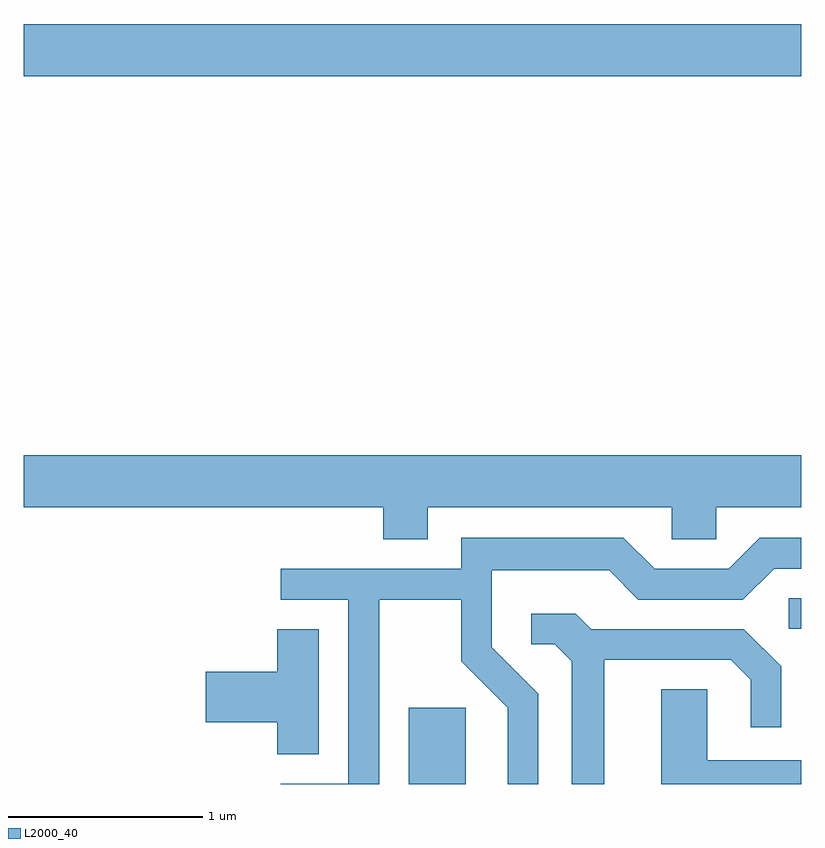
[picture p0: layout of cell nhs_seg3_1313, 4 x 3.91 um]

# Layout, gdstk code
import gdstk
lib = gdstk.Library(unit=1e-6, precision=1e-09)
def R(c, l, rs):  # rectangles x0, y0, x1, y1
    for r in rs: c.add(gdstk.rectangle(r[:2], r[2:], *l))
def P(c, l, *ps):  # polygons
    for p in ps: c.add(gdstk.Polygon(p, *l))
L2000_40 = (2000, 40)

nhs_seg3_1313 = lib.new_cell('nhs_seg3_1313')
R(nhs_seg3_1313, L2000_40, [(225.591,1157.892,225.884,1158.284), (227.548,1158.691,227.611,1158.849), (223.611,1161.536,227.611,1161.804)])
P(nhs_seg3_1313, L2000_40, [(225.689,1159.316),(226.946,1159.316),(226.946,1159.151),(227.174,1159.151),(227.174,1159.316),(227.611,1159.316),(227.611,1159.584),(223.611,1159.584),(223.611,1159.316),(225.461,1159.316),(225.461,1159.151),(225.689,1159.151)],
  [(225.439,1158.841),(225.861,1158.841),(225.861,1158.524),(226.101,1158.284),(226.101,1157.892),(226.259,1157.892),(226.259,1158.357),(226.019,1158.597),(226.019,1158.991),(226.624,1158.991),(226.774,1158.841),(227.312,1158.841),(227.472,1159.001),(227.611,1159.001),(227.611,1159.159),(227.399,1159.159),(227.239,1158.999),(226.857,1158.999),(226.697,1159.159),(225.861,1159.159),(225.861,1158.999),(224.933,1158.999),(224.933,1158.841),(225.281,1158.841),(225.281,1157.894),(224.933,1157.894),(224.933,1157.892),(225.439,1157.892)],
  [(226.599,1158.531),(227.249,1158.531),(227.351,1158.429),(227.351,1158.183),(227.509,1158.183),(227.509,1158.497),(227.317,1158.689),(226.532,1158.689),(226.452,1158.769),(226.223,1158.769),(226.223,1158.611),(226.344,1158.611),(226.431,1158.524),(226.431,1157.892),(226.599,1157.892)],
  [(225.129,1158.689),(224.916,1158.689),(224.916,1158.469),(224.546,1158.469),(224.546,1158.211),(224.916,1158.211),(224.916,1158.046),(225.129,1158.046)],
  [(227.611,1158.014),(227.129,1158.014),(227.129,1158.379),(226.891,1158.379),(226.891,1157.892),(227.611,1157.892)])

lib.write_gds('nhs_seg3_1313.gds')
